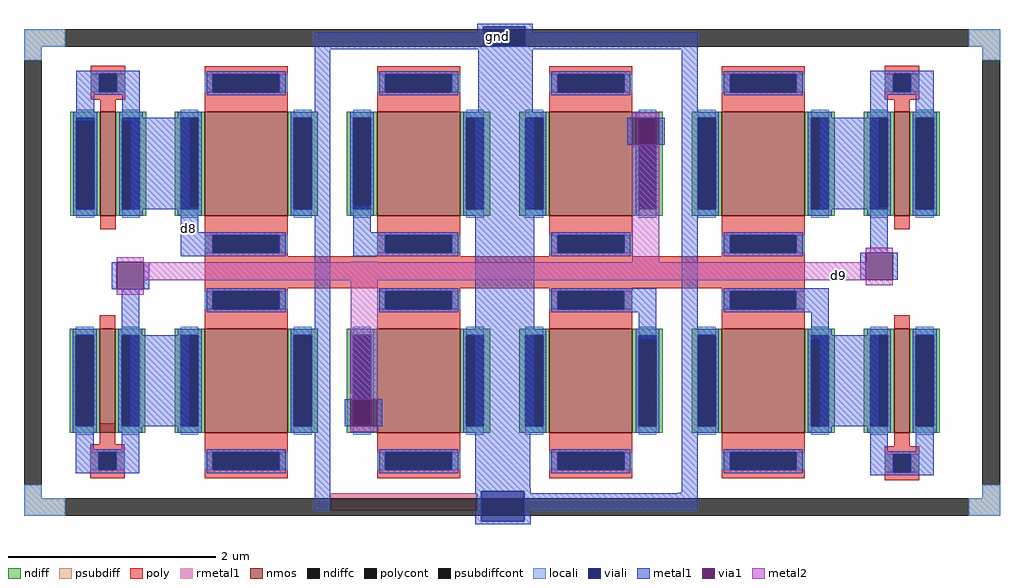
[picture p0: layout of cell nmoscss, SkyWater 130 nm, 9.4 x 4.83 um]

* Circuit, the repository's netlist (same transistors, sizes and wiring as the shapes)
** sch_path: /home/deboradmk/opamp/mag/nmoscss.sch
.subckt nmoscss gnd D9 D8
*.PININFO gnd:B D9:B D8:B
XM8 D8 D8 gnd gnd sky130_fd_pr__nfet_01v8 L=0.8 W=1 nf=1 m=4
XM9 D9 D8 gnd gnd sky130_fd_pr__nfet_01v8 L=0.8 W=1 nf=1 m=4
XM1 D8 D8 D8 gnd sky130_fd_pr__nfet_01v8 L=0.15 W=1 nf=1 m=2
XM2 D9 D9 D9 gnd sky130_fd_pr__nfet_01v8 L=0.15 W=1 nf=1 m=2
.ends
.end

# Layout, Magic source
magic
tech sky130A
magscale 1 2
<< psubdiff >>
rect -290 831 -211 865
rect 1530 831 1590 865
rect -290 805 -256 831
rect 1556 805 1590 831
rect -290 -38 -256 -12
rect 1556 -38 1590 -12
rect -290 -72 -211 -38
rect 1530 -72 1590 -38
<< psubdiffcont >>
rect -211 831 1530 865
rect -290 -12 -256 805
rect 1556 -12 1590 805
rect -211 -72 1530 -38
<< poly >>
rect -161 779 -95 795
rect -161 745 -145 779
rect -111 745 -95 779
rect -161 729 -95 745
rect 1368 779 1434 795
rect 1368 745 1384 779
rect 1418 745 1434 779
rect 1368 729 1434 745
rect 1386 706 1416 729
rect 58 366 1214 428
rect -144 66 -114 106
rect -162 50 -96 66
rect 1386 62 1416 88
rect -162 16 -146 50
rect -112 16 -96 50
rect -162 0 -96 16
rect 1368 46 1434 62
rect 1368 12 1384 46
rect 1418 12 1434 46
rect 1368 -4 1434 12
<< polycont >>
rect -145 745 -111 779
rect 1384 745 1418 779
rect -146 16 -112 50
rect 1384 12 1418 46
<< locali >>
rect -290 831 -211 865
rect 1530 831 1590 865
rect -290 805 -256 831
rect 1556 805 1590 831
rect -161 745 -145 779
rect -111 745 -95 779
rect 1368 745 1384 779
rect 1418 745 1434 779
rect 1340 706 1374 710
rect 1428 706 1462 710
rect -190 88 -156 92
rect -102 88 -68 92
rect -162 16 -146 50
rect -112 16 -96 50
rect 1368 12 1384 46
rect 1418 12 1434 46
rect -290 -38 -256 -12
rect 1556 -38 1590 -12
rect -290 -72 -211 -38
rect 1530 -72 1590 -38
<< viali >>
rect 595 865 676 870
rect 595 832 676 865
rect -145 745 -111 779
rect 1384 745 1418 779
rect -146 16 -112 50
rect 1384 12 1418 46
rect 591 -38 674 -25
rect 591 -72 674 -38
rect 591 -83 674 -72
<< metal1 >>
rect 583 870 690 876
rect 583 859 595 870
rect 270 832 595 859
rect 676 859 690 870
rect 676 832 1008 859
rect 270 826 1008 832
rect -189 779 -67 785
rect -189 745 -145 779
rect -111 745 -67 779
rect -189 739 -67 745
rect -189 689 -155 739
rect -101 694 -67 739
rect -101 689 29 694
rect -84 522 29 689
rect -84 518 46 522
rect 12 474 46 518
rect 12 428 74 474
rect -121 364 -111 416
rect -59 364 -49 416
rect -102 276 -68 364
rect -85 101 28 276
rect -190 56 -156 101
rect -102 100 28 101
rect -102 56 -68 100
rect -190 50 -68 56
rect -190 16 -146 50
rect -112 16 -68 50
rect -190 10 -68 16
rect 270 -62 300 826
rect 585 706 690 826
rect 344 474 378 525
rect 344 428 406 474
rect 328 100 338 152
rect 390 100 400 152
rect 579 100 693 706
rect 872 642 882 694
rect 934 642 944 694
rect 865 320 928 366
rect 894 268 928 320
rect 579 -19 685 100
rect 579 -25 686 -19
rect 579 -29 591 -25
rect 582 -62 591 -29
rect 579 -83 591 -62
rect 674 -29 686 -25
rect 977 -28 1008 826
rect 1340 779 1462 785
rect 1340 745 1384 779
rect 1418 745 1462 779
rect 1340 739 1462 745
rect 1340 706 1374 739
rect 1428 706 1462 739
rect 1243 522 1356 694
rect 1243 518 1374 522
rect 1340 434 1374 518
rect 1321 382 1331 434
rect 1383 382 1393 434
rect 1197 320 1260 366
rect 1226 276 1260 320
rect 1226 268 1356 276
rect 1243 100 1356 268
rect 1340 52 1374 88
rect 1428 52 1462 88
rect 1340 46 1462 52
rect 1340 12 1384 46
rect 1418 12 1462 46
rect 1340 6 1462 12
rect 969 -29 1008 -28
rect 674 -62 1008 -29
rect 674 -83 686 -62
rect 579 -89 686 -83
<< rmetal1 >>
rect 300 -62 582 -29
<< via1 >>
rect -111 364 -59 416
rect 338 100 390 152
rect 882 642 934 694
rect 1331 382 1383 434
<< metal2 >>
rect 882 694 934 704
rect -111 416 -59 426
rect 339 416 391 417
rect 882 416 934 642
rect 1331 434 1383 444
rect -59 382 1331 416
rect -59 381 1383 382
rect -111 354 -59 364
rect 339 162 391 381
rect 1331 372 1383 381
rect 338 153 391 162
rect 338 152 390 153
rect 338 90 390 100
use sky130_fd_pr__nfet_01v8_6H9P4D  sky130_fd_pr__nfet_01v8_6H9P4D_0
transform 1 0 1401 0 1 188
box -73 -126 73 126
use sky130_fd_pr__nfet_01v8_6H9P4D  sky130_fd_pr__nfet_01v8_6H9P4D_1
transform 1 0 -129 0 1 188
box -73 -126 73 126
use sky130_fd_pr__nfet_01v8_6H9P4D  sky130_fd_pr__nfet_01v8_6H9P4D_2
transform 1 0 -128 0 1 606
box -73 -126 73 126
use sky130_fd_pr__nfet_01v8_6H9P4D  sky130_fd_pr__nfet_01v8_6H9P4D_3
transform 1 0 1401 0 1 606
box -73 -126 73 126
use sky130_fd_pr__nfet_01v8_C77M8X  sky130_fd_pr__nfet_01v8_C77M8X_0
transform 1 0 636 0 1 397
box -636 -397 636 397
<< labels >>
flabel viali 623 851 623 851 0 FreeSans 1120 0 0 0 gnd
port 0 nsew
flabel metal1 26 482 26 482 0 FreeSans 1120 0 0 0 d8
port 1 nsew
flabel metal2 1279 390 1279 390 0 FreeSans 1120 0 0 0 d9
port 2 nsew
<< end >>

# cell sky130_fd_pr__nfet_01v8_6H9P4D: kit device sky130_fd_pr__nfet_01v8, w 1 l 0.150 m 1 nf 1 diffcov 100 polycov 100 guard 0 glc 1 grc 1 gtc 1 gbc 1 tbcov 100 rlcov 100 topc 0 botc 0 poverlap 0 doverlap 1 lmin 0.15 wmin 0.42 compatible {sky130_fd_pr__nfet_01v8 sky130_fd_pr__nfet_01v8_lvt sky130_fd_bs_flash__special_sonosfet_star sky130_fd_pr__nfet_g5v0d10v5 sky130_fd_pr__nfet_05v0_nvt sky130_fd_pr__nfet_03v3_nvt} full_metal 1 viasrc 100 viadrn 100 viagate 100 viagb 0 viagr 0 viagl 0 viagt 0

# cell sky130_fd_pr__nfet_01v8_C77M8X: kit device sky130_fd_pr__nfet_01v8, w 1 l 0.8 m 2 nf 4 diffcov 100 polycov 100 guard 0 glc 1 grc 1 gtc 1 gbc 1 tbcov 100 rlcov 100 topc 1 botc 1 poverlap 0 doverlap 0 lmin 0.15 wmin 0.42 compatible {sky130_fd_pr__nfet_01v8 sky130_fd_pr__nfet_01v8_lvt sky130_fd_bs_flash__special_sonosfet_star sky130_fd_pr__nfet_g5v0d10v5 sky130_fd_pr__nfet_05v0_nvt sky130_fd_pr__nfet_03v3_nvt} full_metal 1 viasrc 100 viadrn 100 viagate 100 viagb 0 viagr 0 viagl 0 viagt 0
